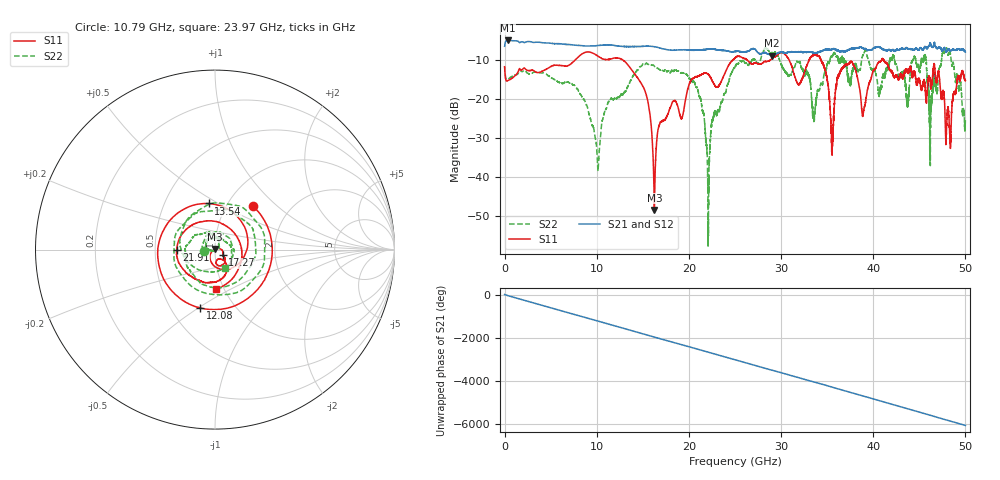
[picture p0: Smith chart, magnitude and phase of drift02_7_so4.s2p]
!Created with skrf (http://scikit-rf.org).
# Hz S RI R 50.0
!freq ReS11 ImS11 ReS21 ImS21 ReS12 ImS12 ReS22 ImS22
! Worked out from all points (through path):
!   10001 points, 300 kHz to 50 GHz, reference 50 ohm
!   highest |S21| = -5.04 dB at 325.3 MHz (marker M1); lowest = -8.9 dB at 28.98 GHz (marker M2)
!   group delay of S21, straight-line fit = 336 ps
!   lowest |S11| = -48.4 dB at 16.25 GHz (marker M3), VSWR 1.01, Z = 49.9 + j0.358 ohm
!   |S11| at or under -10 dB: start of sweep to 7.668 GHz; 12.81 GHz to 24.78 GHz (11.96 GHz wide, 63.7 % of centre); 41.13 GHz to end of sweep (the widest 3 of 12)
!   |S22| runs from -57.6 to -6.8 dB; largest |S21 - S12| = 0.031
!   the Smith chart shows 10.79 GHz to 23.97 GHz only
!   S11 on the Smith chart (normalised r, x): 10.79 GHz: 1.33, +0.71; 12.08 GHz: 0.70, -0.51; 13.54 GHz: 0.82, +0.45; 17.27 GHz: 1.09, -0.07; 21.91 GHz: 0.65, -0.00; 23.97 GHz: 0.92, -0.43
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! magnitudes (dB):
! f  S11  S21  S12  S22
! 300 kHz  -11.8  -6.5  -6.5  -11.6
! 325.3 MHz  -15.3  -5.0  -5.0  -15.1
! 8.335 GHz  -8.6  -6.4  -6.4  -19.2
! 10.11 GHz  -9.0  -6.3  -6.3  -37.5
! 10.79 GHz  -9.9  -6.2  -6.2  -23.9
! 12.08 GHz  -9.5  -6.4  -6.4  -20.1
! 13.54 GHz  -11.7  -6.6  -6.6  -16.0
! 16.25 GHz  -48.4  -6.7  -6.6  -11.6
! 16.67 GHz  -27.5  -6.8  -6.8  -12.2
! 17.27 GHz  -25.4  -7.2  -7.2  -12.9
! 20.74 GHz  -14.3  -7.5  -7.5  -16.8
! 21.91 GHz  -13.4  -7.3  -7.3  -32.0
! 23.97 GHz  -13.1  -7.6  -7.7  -18.5
! 25 GHz  -9.5  -7.9  -7.9  -11.8
! 28.98 GHz  -9.8  -8.9  -8.9  -8.2
! 33.34 GHz  -9.1  -8.0  -8.0  -20.5
! 35.55 GHz  -30.7  -7.2  -7.3  -9.1
! 36.8 GHz  -11.8  -7.8  -7.7  -10.5
! 41.67 GHz  -11.9  -7.4  -7.5  -11.8
! 46.25 GHz  -17.5  -6.1  -6.1  -22.4
! 48.12 GHz  -22.0  -7.2  -7.2  -8.5
! 50 GHz  -15.3  -8.0  -7.9  -25.1
